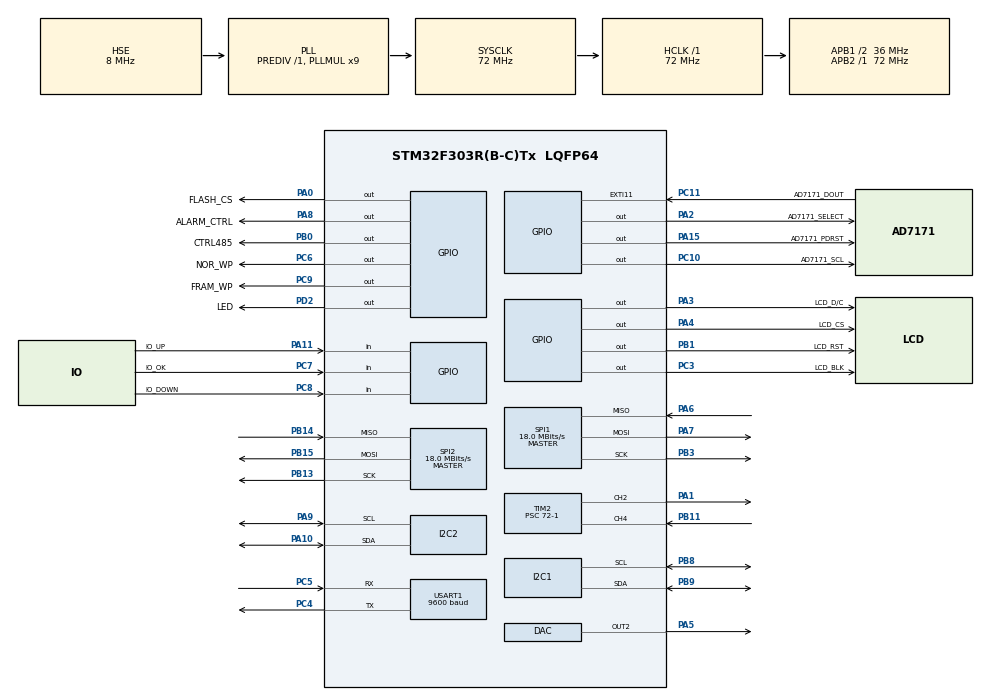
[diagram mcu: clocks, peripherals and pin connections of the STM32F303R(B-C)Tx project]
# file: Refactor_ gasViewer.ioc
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ADC1.Channel-0\#ChannelRegularConversion=ADC_CHANNEL_TEMPSENSOR
ADC1.InjNumberOfConversion=0
ADC1.NbrOfConversion=1
ADC1.NbrOfConversionFlag=1
ADC1.Offset-0\#ChannelRegularConversion=0
ADC1.OffsetNumber-0\#ChannelRegularConversion=ADC_OFFSET_NONE
ADC1.Rank-0\#ChannelRegularConversion=1
ADC1.SamplingTime-0\#ChannelRegularConversion=ADC_SAMPLETIME_601CYCLES_5
ADC1.SamplingTimeOPAMP-0\#ChannelRegularConversion=ADC_SAMPLETIME_61CYCLES_5
ADC1.master=1
DAC.DAC_Trigger2=DAC_TRIGGER_NONE
FREERTOS.Tasks01=defaultTask,0,128,StartDefaultTask,Default,NULL,Static,defaultTaskBuffer,defaultTaskControlBlock;guiTask,2,512,GUI_Task,As weak,NULL,Static,guitaskBuffer,guitaskControlBlock;keyTask,3,256,KEY_Task,As weak,NULL,Static,keyTaskBuffer,keyTaskControlBlock;collectTask,0,512,COLLECT_Task,As weak,NULL,Static,gasTaskBuffer,gasTaskControlBlock;controlTask,0,256,CONTROL_StartTask,As weak,NULL,Static,ControlTaskBuffer,ControlTaskControlBlock;commTask,3,1024,COMM_Task,As weak,NULL,Static,commTaskBuffer,commTaskControlBlock;resetTask,-2,128,Reset_Task,Default,NULL,Static,resetTaskBuffer,resetTaskControlBlock
IWDG.Prescaler=IWDG_PRESCALER_128
Mcu.Family=STM32F3
Mcu.Name=STM32F303R(B-C)Tx
Mcu.Package=LQFP64
NVIC.EXTI15_10_IRQn=true\:5\:0\:true\:false\:true\:false\:true\:true\:true
NVIC.PriorityGroup=NVIC_PRIORITYGROUP_4
NVIC.TIM1_UP_TIM16_IRQn=true\:15\:0\:false\:false\:true\:false\:false\:true\:true
NVIC.TIM2_IRQn=true\:5\:0\:false\:false\:true\:true\:true\:true\:true
NVIC.TimeBase=TIM1_UP_TIM16_IRQn
NVIC.TimeBaseIP=TIM1
NVIC.USART1_IRQn=true\:5\:0\:false\:false\:true\:true\:true\:true\:true
PA0.GPIO_Label=FLASH_CS
PA0.GPIO_Speed=GPIO_SPEED_FREQ_HIGH
PA0.PinState=GPIO_PIN_SET
PA0.Signal=GPIO_Output
PA1.Signal=S_TIM2_CH2
PA10.Mode=I2C
PA10.Signal=I2C2_SDA
PA11.GPIO_Label=IO_UP
PA11.Signal=GPIO_Input
PA13.Mode=Serial_Wire
PA13.Signal=SYS_JTMS-SWDIO
PA14.Mode=Serial_Wire
PA14.Signal=SYS_JTCK-SWCLK
PA15.GPIO_Label=AD7171_PDRST
PA15.GPIO_Speed=GPIO_SPEED_FREQ_HIGH
PA15.Signal=GPIO_Output
PA2.GPIO_Label=AD7171_SELECT
PA2.GPIO_Speed=GPIO_SPEED_FREQ_HIGH
PA2.Signal=GPIO_Output
PA3.GPIO_Label=LCD_D/C
PA3.GPIO_Speed=GPIO_SPEED_FREQ_HIGH
PA3.Signal=GPIO_Output
PA4.GPIO_Label=LCD_CS
PA4.GPIO_Speed=GPIO_SPEED_FREQ_HIGH
PA4.Signal=GPIO_Output
PA5.Signal=COMP_DAC2_group
PA6.Mode=Full_Duplex_Master
PA6.Signal=SPI1_MISO
PA7.Mode=Full_Duplex_Master
PA7.Signal=SPI1_MOSI
PA8.GPIO_Label=ALARM_CTRL
PA8.Signal=GPIO_Output
PA9.Mode=I2C
PA9.Signal=I2C2_SCL
PB0.GPIO_Label=CTRL485
PB0.GPIO_Speed=GPIO_SPEED_FREQ_HIGH
PB0.Signal=GPIO_Output
PB1.GPIO_Label=LCD_RST
PB1.GPIO_Speed=GPIO_SPEED_FREQ_HIGH
PB1.Signal=GPIO_Output
PB11.Signal=S_TIM2_CH4
PB13.Mode=Full_Duplex_Master
PB13.Signal=SPI2_SCK
PB14.Mode=Full_Duplex_Master
PB14.Signal=SPI2_MISO
PB15.Mode=Full_Duplex_Master
PB15.Signal=SPI2_MOSI
PB3.Mode=Full_Duplex_Master
PB3.Signal=SPI1_SCK
PB8.Mode=I2C
PB8.Signal=I2C1_SCL
PB9.Mode=I2C
PB9.Signal=I2C1_SDA
PC10.GPIO_Label=AD7171_SCL
PC10.GPIO_Speed=GPIO_SPEED_FREQ_HIGH
PC10.PinState=GPIO_PIN_SET
PC10.Signal=GPIO_Output
PC11.GPIO_Label=AD7171_DOUT
PC11.GPIO_ModeDefaultEXTI=GPIO_MODE_IT_FALLING
PC11.GPIO_PuPd=GPIO_PULLUP
PC11.Signal=GPXTI11
PC14-OSC32_IN.Mode=LSE-External-Oscillator
PC14-OSC32_IN.Signal=RCC_OSC32_IN
PC15-OSC32_OUT.Mode=LSE-External-Oscillator
PC15-OSC32_OUT.Signal=RCC_OSC32_OUT
PC3.GPIO_Label=LCD_BLK
PC3.GPIO_Speed=GPIO_SPEED_FREQ_HIGH
PC3.PinState=GPIO_PIN_SET
PC3.Signal=GPIO_Output
PC4.Mode=Asynchronous
PC4.Signal=USART1_TX
PC5.Mode=Asynchronous
PC5.Signal=USART1_RX
PC6.GPIO_Label=NOR_WP
PC6.GPIO_Speed=GPIO_SPEED_FREQ_HIGH
PC6.Signal=GPIO_Output
PC7.GPIO_Label=IO_OK
PC7.Signal=GPIO_Input
PC8.GPIO_Label=IO_DOWN
PC8.Signal=GPIO_Input
PC9.GPIO_Label=FRAM_WP
PC9.GPIO_Speed=GPIO_SPEED_FREQ_HIGH
PC9.Signal=GPIO_Output
PD2.GPIO_Label=LED
PD2.GPIO_Speed=GPIO_SPEED_FREQ_HIGH
PD2.Signal=GPIO_Output
PF0-OSC_IN.Mode=HSE-External-Oscillator
PF0-OSC_IN.Signal=RCC_OSC_IN
PF1-OSC_OUT.Mode=HSE-External-Oscillator
PF1-OSC_OUT.Signal=RCC_OSC_OUT
ProjectManager.HeapSize=0x1000
ProjectManager.StackSize=0x400
ProjectManager.TargetToolchain=MDK-ARM V5.27
RCC.AHBFreq_Value=72000000
RCC.APB1CLKDivider=RCC_HCLK_DIV2
RCC.APB1Freq_Value=36000000
RCC.APB1TimFreq_Value=72000000
RCC.APB2Freq_Value=72000000
RCC.APB2TimFreq_Value=72000000
RCC.CortexFreq_Value=72000000
RCC.HCLKFreq_Value=72000000
RCC.HSE_VALUE=8000000
RCC.HSI_VALUE=8000000
RCC.PLLMUL=RCC_PLL_MUL9
RCC.PLLSourceVirtual=RCC_PLLSOURCE_HSE
RCC.RTCClockSelection=RCC_RTCCLKSOURCE_LSE
RCC.SYSCLKFreq_VALUE=72000000
RCC.SYSCLKSourceVirtual=RCC_SYSCLKSOURCE_PLLCLK
RCC.USBFreq_Value=72000000
RTC.Alarm-Alarm\ A=RTC_ALARM_A
SH.COMP_DAC2_group.0=DAC_OUT2,Enable_DAC_OUT2
SH.S_TIM2_CH2.0=TIM2_CH2,PWM Generation2 CH2
SH.S_TIM2_CH4.0=TIM2_CH4,Input_Capture4_from_TI4
SPI1.BaudRatePrescaler=SPI_BAUDRATEPRESCALER_4
SPI1.CalculateBaudRate=18.0 MBits/s
SPI1.DataSize=SPI_DATASIZE_8BIT
SPI1.Direction=SPI_DIRECTION_2LINES
SPI1.Mode=SPI_MODE_MASTER
SPI1.VirtualType=VM_MASTER
SPI2.CalculateBaudRate=18.0 MBits/s
SPI2.DataSize=SPI_DATASIZE_8BIT
SPI2.Direction=SPI_DIRECTION_2LINES
SPI2.Mode=SPI_MODE_MASTER
SPI2.VirtualType=VM_MASTER
TIM2.AutoReloadPreload=TIM_AUTORELOAD_PRELOAD_ENABLE
TIM2.Channel-Input_Capture4_from_TI4=TIM_CHANNEL_4
TIM2.Channel-PWM\ Generation2\ CH2=TIM_CHANNEL_2
TIM2.ICFilter_CH4=3
TIM2.Period=10000-1
TIM2.Prescaler=72-1
USART1.BaudRate=9600
USART1.VirtualMode-Asynchronous=VM_ASYNC
VP_ADC1_TempSens_Input.Mode=IN-TempSens
VP_FREERTOS_VS_CMSIS_V1.Mode=CMSIS_V1
VP_IWDG_VS_IWDG.Mode=IWDG_Activate
VP_RTC_VS_RTC_Activate.Mode=RTC_Enabled
VP_RTC_VS_RTC_Alarm_A_Intern.Mode=Alarm A
VP_RTC_VS_RTC_Calendar.Mode=RTC_Calendar
VP_SYS_VS_tim1.Mode=TIM1
board=custom

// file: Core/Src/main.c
/* USER CODE BEGIN Header */
/**
  ******************************************************************************
  * @file           : main.c
  * @brief          : Main program body
  ******************************************************************************
  * @attention
  *
  * Copyright (c) 2025 STMicroelectronics.
  * All rights reserved.
  *
  * This software is licensed under terms that can be found in the LICENSE file
  * in the root directory of this software component.
  * If no LICENSE file comes with this software, it is provided AS-IS.
  *
  ******************************************************************************
  */
/* USER CODE END Header */
#include "main.h"
#include "cmsis_os.h"
#include "adc.h"
#include "dac.h"
#include "i2c.h"
#include "iwdg.h"
#include "rtc.h"
#include "spi.h"
#include "tim.h"
#include "usart.h"
#include "gpio.h"

/* USER CODE BEGIN Includes */
#include "appConfig.h"
#include "remote.h"
#include "bsp_fram_driver.h"
/* USER CODE END Includes */

/* USER CODE BEGIN PTD */
static u16 time_count=0;
/* USER CODE END PTD */

void SystemClock_Config(void);
void MX_FREERTOS_Init(void);

/* USER CODE BEGIN 0 */
// 静态信号量控制块（编译期分配内存，无堆依赖）
StaticSemaphore_t xAD7171SemBuffer;
/* USER CODE END 0 */

int main(void)
{

  /* MCU Configuration--------------------------------------------------------*/

  /* Reset of all peripherals, Initializes the Flash interface and the Systick. */
  HAL_Init();

  /* USER CODE BEGIN Init */
	CheckResetSource();
  /* USER CODE END Init */

  /* Configure the system clock */
  SystemClock_Config();

  /* USER CODE BEGIN SysInit */
//创建FreeRTOS信号量（中断-任务同步）
   ad7171_data_sem = xSemaphoreCreateBinaryStatic(&xAD7171SemBuffer);
  if (ad7171_data_sem == NULL) {
    while (1); // 信号量创建失败，死循环报错
  }
  /* USER CODE END SysInit */

  /* Initialize all configured peripherals */
  MX_GPIO_Init();
  MX_RTC_Init();
  MX_SPI1_Init();
  MX_USART1_UART_Init();
  MX_TIM2_Init();
  MX_SPI2_Init();
  MX_IWDG_Init();
  MX_I2C2_Init();
  MX_I2C1_Init();
  MX_ADC1_Init();
  MX_DAC_Init();
  /* USER CODE BEGIN 2 */
	fram_init();				//fram

	UART1_Init_IT();
	Main_LocalTime_Update();		//读取实时钟,错误后读取fram复赋值

	System_CommonData_Init();   //设置系统参数

	dac_Out(2048);				//DAC输出					等待换算
  /* USER CODE END 2 */

  /* Call init function for freertos objects (in freertos.c) */
  MX_FREERTOS_Init();

  /* Start scheduler */
  osKernelStart();
  /* We should never get here as control is now taken by the scheduler */
  /* Infinite loop */
  while (1)
  {

  }
}

void SystemClock_Config(void)
{
  RCC_OscInitTypeDef RCC_OscInitStruct = {0};
  RCC_ClkInitTypeDef RCC_ClkInitStruct = {0};
  RCC_PeriphCLKInitTypeDef PeriphClkInit = {0};

  /** Configure LSE Drive Capability
  */
  HAL_PWR_EnableBkUpAccess();
  __HAL_RCC_LSEDRIVE_CONFIG(RCC_LSEDRIVE_LOW);

  /** Initializes the RCC Oscillators according to the specified parameters
  * in the RCC_OscInitTypeDef structure.
  */
  RCC_OscInitStruct.OscillatorType = RCC_OSCILLATORTYPE_HSI|RCC_OSCILLATORTYPE_LSI
                              |RCC_OSCILLATORTYPE_HSE|RCC_OSCILLATORTYPE_LSE;
  RCC_OscInitStruct.HSEState = RCC_HSE_ON;
  RCC_OscInitStruct.HSEPredivValue = RCC_HSE_PREDIV_DIV1;
  RCC_OscInitStruct.LSEState = RCC_LSE_ON;
  RCC_OscInitStruct.HSIState = RCC_HSI_ON;
  RCC_OscInitStruct.HSICalibrationValue = RCC_HSICALIBRATION_DEFAULT;
  RCC_OscInitStruct.LSIState = RCC_LSI_ON;
  RCC_OscInitStruct.PLL.PLLState = RCC_PLL_ON;
  RCC_OscInitStruct.PLL.PLLSource = RCC_PLLSOURCE_HSE;
  RCC_OscInitStruct.PLL.PLLMUL = RCC_PLL_MUL9;
  if (HAL_RCC_OscConfig(&RCC_OscInitStruct) != HAL_OK)
  {
    Error_Handler();
  }

  /** Initializes the CPU, AHB and APB buses clocks
  */
  RCC_ClkInitStruct.ClockType = RCC_CLOCKTYPE_HCLK|RCC_CLOCKTYPE_SYSCLK
                              |RCC_CLOCKTYPE_PCLK1|RCC_CLOCKTYPE_PCLK2;
  RCC_ClkInitStruct.SYSCLKSource = RCC_SYSCLKSOURCE_PLLCLK;
  RCC_ClkInitStruct.AHBCLKDivider = RCC_SYSCLK_DIV1;
  RCC_ClkInitStruct.APB1CLKDivider = RCC_HCLK_DIV2;
  RCC_ClkInitStruct.APB2CLKDivider = RCC_HCLK_DIV1;

  if (HAL_RCC_ClockConfig(&RCC_ClkInitStruct, FLASH_LATENCY_2) != HAL_OK)
  {
    Error_Handler();
  }
  PeriphClkInit.PeriphClockSelection = RCC_PERIPHCLK_USART1|RCC_PERIPHCLK_I2C1
                              |RCC_PERIPHCLK_I2C2|RCC_PERIPHCLK_RTC
                              |RCC_PERIPHCLK_ADC12;
  PeriphClkInit.Usart1ClockSelection = RCC_USART1CLKSOURCE_PCLK2;
  PeriphClkInit.Adc12ClockSelection = RCC_ADC12PLLCLK_DIV1;
  PeriphClkInit.I2c1ClockSelection = RCC_I2C1CLKSOURCE_HSI;
  PeriphClkInit.I2c2ClockSelection = RCC_I2C2CLKSOURCE_HSI;
  PeriphClkInit.RTCClockSelection = RCC_RTCCLKSOURCE_LSE;
  if (HAL_RCCEx_PeriphCLKConfig(&PeriphClkInit) != HAL_OK)
  {
    Error_Handler();
  }
}

void HAL_TIM_PeriodElapsedCallback(TIM_HandleTypeDef *htim)
{
  if (htim->Instance == TIM1) {
    HAL_IncTick();
  }

  /* USER CODE BEGIN Callback 1 */
	if ( htim->Instance == TIM1 )  		//毫秒中斷 毫秒中断
	{
		lcd_BG_Control();
	}
	if ( htim->Instance == TIM2 )
	{
		REMOTE_TIM_PeriodElapsedCallback ( &htim2 );  //红外遥控器的相关注释补上

		if ( htim == (&htim2) )
		{
		  LocalTime_Update();		//读取实时钟
			time_count++;
			if(time_count==2000)
			{
				time_count=1500;
				SaveTimeToFRAM();      //将当前时间保存到铁电
			}
		}
	}
  /* USER CODE END Callback 1 */
}

void Error_Handler(void)
{
  __disable_irq();
  while (1)
  {
  }
}

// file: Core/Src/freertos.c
/* USER CODE BEGIN Header */
/**
  ******************************************************************************
  * File Name          : freertos.c
  * Description        : Code for freertos applications
  ******************************************************************************
  * @attention
  *
  * Copyright (c) 2025 STMicroelectronics.
  * All rights reserved.
  *
  * This software is licensed under terms that can be found in the LICENSE file
  * in the root directory of this software component.
  * If no LICENSE file comes with this software, it is provided AS-IS.
  *
  ******************************************************************************
  */
/* USER CODE END Header */

#include "FreeRTOS.h"
#include "task.h"
#include "main.h"
#include "cmsis_os.h"

/* USER CODE BEGIN Includes */
#include "iwdg.h"
#include "appconfig.h"
#include "rtc.h"

/* USER CODE END Includes */

osThreadId defaultTaskHandle;
uint32_t defaultTaskBuffer[ 128 ];
osStaticThreadDef_t defaultTaskControlBlock;
osThreadId guiTaskHandle;
uint32_t guitaskBuffer[ 512 ];
osStaticThreadDef_t guitaskControlBlock;
osThreadId keyTaskHandle;
uint32_t keyTaskBuffer[ 256 ];
osStaticThreadDef_t keyTaskControlBlock;
osThreadId collectTaskHandle;
uint32_t gasTaskBuffer[ 512 ];
osStaticThreadDef_t gasTaskControlBlock;
osThreadId controlTaskHandle;
uint32_t ControlTaskBuffer[ 256 ];
osStaticThreadDef_t ControlTaskControlBlock;
osThreadId commTaskHandle;
uint32_t commTaskBuffer[ 1024 ];
osStaticThreadDef_t commTaskControlBlock;
osThreadId resetTaskHandle;
uint32_t resetTaskBuffer[ 128 ];
osStaticThreadDef_t resetTaskControlBlock;

void StartDefaultTask(void const * argument);
void GUI_Task(void const * argument);
void KEY_Task(void const * argument);
void COLLECT_Task(void const * argument);
void CONTROL_StartTask(void const * argument);
void COMM_Task(void const * argument);
void Reset_Task(void const * argument);

void MX_FREERTOS_Init(void); /* (MISRA C 2004 rule 8.1) */

/* GetIdleTaskMemory prototype (linked to static allocation support) */
void vApplicationGetIdleTaskMemory( StaticTask_t **ppxIdleTaskTCBBuffer, StackType_t **ppxIdleTaskStackBuffer, uint32_t *pulIdleTaskStackSize );

/* USER CODE BEGIN GET_IDLE_TASK_MEMORY */
static StaticTask_t xIdleTaskTCBBuffer;
static StackType_t xIdleStack[configMINIMAL_STACK_SIZE];

void vApplicationGetIdleTaskMemory( StaticTask_t **ppxIdleTaskTCBBuffer, StackType_t **ppxIdleTaskStackBuffer, uint32_t *pulIdleTaskStackSize )
{
  *ppxIdleTaskTCBBuffer = &xIdleTaskTCBBuffer;
  *ppxIdleTaskStackBuffer = &xIdleStack[0];
  *pulIdleTaskStackSize = configMINIMAL_STACK_SIZE;
  /* place for user code */
}
/* USER CODE END GET_IDLE_TASK_MEMORY */

void MX_FREERTOS_Init(void) {

  /* Create the thread(s) */
  /* definition and creation of defaultTask */
  osThreadStaticDef(defaultTask, StartDefaultTask, osPriorityNormal, 0, 128, defaultTaskBuffer, &defaultTaskControlBlock);
  defaultTaskHandle = osThreadCreate(osThread(defaultTask), NULL);

  /* definition and creation of guiTask */
  osThreadStaticDef(guiTask, GUI_Task, osPriorityHigh, 0, 512, guitaskBuffer, &guitaskControlBlock);
  guiTaskHandle = osThreadCreate(osThread(guiTask), NULL);

  /* definition and creation of keyTask */
  osThreadStaticDef(keyTask, KEY_Task, osPriorityRealtime, 0, 256, keyTaskBuffer, &keyTaskControlBlock);
  keyTaskHandle = osThreadCreate(osThread(keyTask), NULL);

  /* definition and creation of collectTask */
  osThreadStaticDef(collectTask, COLLECT_Task, osPriorityNormal, 0, 512, gasTaskBuffer, &gasTaskControlBlock);
  collectTaskHandle = osThreadCreate(osThread(collectTask), NULL);

  /* definition and creation of controlTask */
  osThreadStaticDef(controlTask, CONTROL_StartTask, osPriorityNormal, 0, 256, ControlTaskBuffer, &ControlTaskControlBlock);
  controlTaskHandle = osThreadCreate(osThread(controlTask), NULL);

  /* definition and creation of commTask */
  osThreadStaticDef(commTask, COMM_Task, osPriorityRealtime, 0, 1024, commTaskBuffer, &commTaskControlBlock);
  commTaskHandle = osThreadCreate(osThread(commTask), NULL);

  /* definition and creation of resetTask */
  osThreadStaticDef(resetTask, Reset_Task, osPriorityLow, 0, 128, resetTaskBuffer, &resetTaskControlBlock);
  resetTaskHandle = osThreadCreate(osThread(resetTask), NULL);

}

void StartDefaultTask(void const * argument)
{
  for(;;)
  {
    osDelay(1);
  }
}

/* USER CODE BEGIN Header_GUI_Task */
/**
* @brief Function implementing the guiTask thread.
* @param argument: Not used
* @retval None
*/
//界面任务
/* USER CODE END Header_GUI_Task */
__weak void GUI_Task(void const * argument)
{
  for(;;)
  {
    osDelay(1);
  }
}

/* USER CODE BEGIN Header_KEY_Task */
/**
* @brief Function implementing the keyTask thread.
* @param argument: Not used
* @retval None
*/
//按键任务
/* USER CODE END Header_KEY_Task */
__weak void KEY_Task(void const * argument)
{
  for(;;)
  {
    osDelay(1);
  }
}

/* USER CODE BEGIN Header_COLLECT_Task */
/**
* @brief Function implementing the collectTask thread.
* @param argument: Not used
* @retval None
*/
//采集任务（气体，温湿度，气压）
/* USER CODE END Header_COLLECT_Task */
__weak void COLLECT_Task(void const * argument)
{
  for(;;)
  {
    osDelay(1);
  }
}

/* USER CODE BEGIN Header_CONTROL_StartTask */
/**
* @brief Function implementing the controlTask thread.
* @param argument: Not used
* @retval None
*/
//控制任务（继电器）
/* USER CODE END Header_CONTROL_StartTask */
__weak void CONTROL_StartTask(void const * argument)
{
  /* USER CODE BEGIN CONTROL_StartTask */
  /* Infinite loop */
  for(;;)
  {
		LED_TOGGLE;
    osDelay(1000);
  }
  /* USER CODE END CONTROL_StartTask */
}

/* USER CODE BEGIN Header_COMM_Task */
/**
* @brief Function implementing the commTask thread.
* @param argument: Not used
* @retval None
*/
//通信任务
/* USER CODE END Header_COMM_Task */
__weak void COMM_Task(void const * argument)
{
  for(;;)
  {
    osDelay(1);
  }
}

void Reset_Task(void const * argument)
{
  /* USER CODE BEGIN Reset_Task */
  /* Infinite loop */
  for(;;)
  {
		LocalTime_Update();		//读取实时钟
		if(gDateTime.Hours==1 && gDateTime.Minutes==11 && gDateTime.Seconds==11)
		{
			gSystemData.Life+=1;
			gSystemData.resetflag = 1;
			g_SaveParamFlag |= SAVE_SYSTDATA_BIT;
			if ( g_SaveParamFlag )		//保存参数到fram
			{
				System_SaveCommonData ( g_SaveParamFlag );
				g_SaveParamFlag = 0;
			}
			HAL_NVIC_SystemReset();
		}
//		u8 i=RestoreTimeFromFRAM();
//		SEGGER_RTT_printf(0,"chenggong=%d\r\n",i);
    osDelay(1000);
  }
  /* USER CODE END Reset_Task */
}
